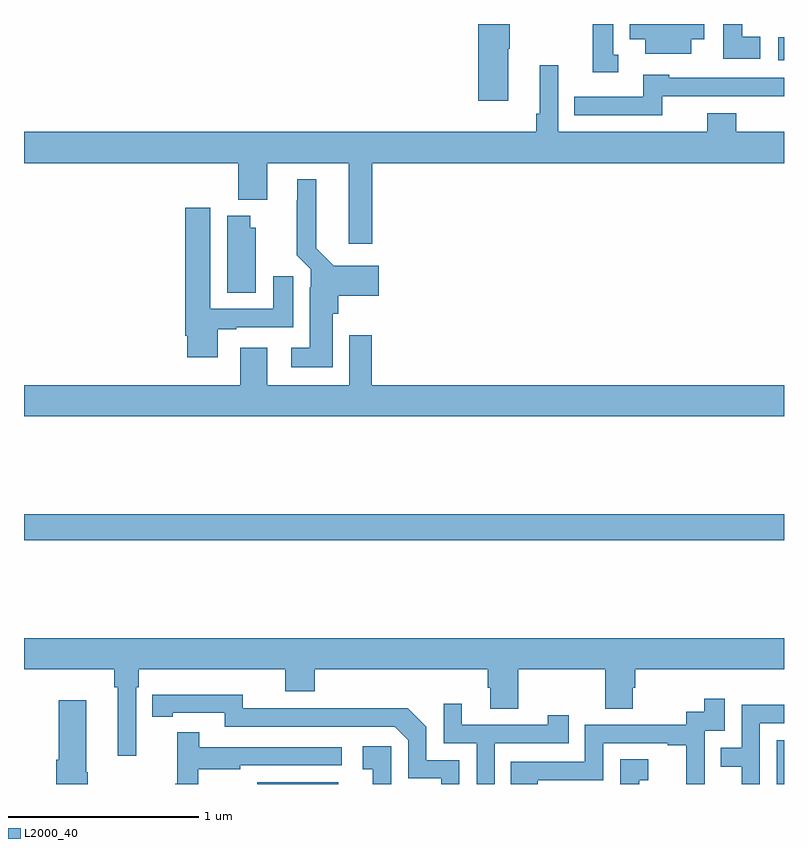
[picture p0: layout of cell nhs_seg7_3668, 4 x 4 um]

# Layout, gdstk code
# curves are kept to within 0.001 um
import gdstk
lib = gdstk.Library(unit=1e-6, precision=1e-09)
def R(c, l, rs):  # rectangles x0, y0, x1, y1
    for r in rs: c.add(gdstk.rectangle(r[:2], r[2:], *l))
def P(c, l, *ps):  # polygons
    for p in ps: c.add(gdstk.Polygon(p, *l))
L2000_40 = (2000, 40)

nhs_seg7_3668 = lib.new_cell('nhs_seg7_3668')
R(nhs_seg7_3668, L2000_40, [(346.227,1012,346.654,1012.009), (348.963,1012,349,1012.23), (345,1013.284,349,1013.42), (348.969,1015.809,349,1015.929)])
P(nhs_seg7_3668, L2000_40, [(348.511,1015.919),(348.58,1015.919),(348.58,1016),(348.187,1016),(348.187,1015.919),(348.269,1015.919),(348.269,1015.844),(348.511,1015.844)],
  [(347.548,1015.87),(347.556,1015.87),(347.556,1016),(347.39,1016),(347.39,1015.596),(347.548,1015.596)],
  [(348.874,1015.934),(348.78,1015.934),(348.78,1016),(348.681,1016),(348.681,1015.818),(348.874,1015.818)],
  [(348.127,1015.839),(348.102,1015.839),(348.102,1016),(347.994,1016),(347.994,1015.745),(348.127,1015.745)],
  [(346.832,1015.268),(349,1015.268),(349,1015.432),(348.749,1015.432),(348.749,1015.531),(348.596,1015.531),(348.596,1015.432),(347.811,1015.432),(347.811,1015.783),(347.714,1015.783),(347.714,1015.528),(347.695,1015.528),(347.695,1015.432),(345,1015.432),(345,1015.268),(346.127,1015.268),(346.127,1015.076),(346.279,1015.076),(346.279,1015.268),(346.709,1015.268),(346.709,1014.843),(346.832,1014.843)],
  [(348.36,1015.62),(348.832,1015.62),(348.832,1015.619),(349,1015.619),(349,1015.716),(348.396,1015.716),(348.396,1015.732),(348.26,1015.732),(348.26,1015.617),(347.896,1015.617),(347.896,1015.521),(348.36,1015.521)],
  [(346.624,1014.474),(346.655,1014.474),(346.655,1014.569),(346.867,1014.569),(346.867,1014.727),(346.629,1014.727),(346.537,1014.82),(346.537,1015.183),(346.439,1015.183),(346.439,1015.073),(346.435,1015.073),(346.435,1014.782),(346.509,1014.708),(346.509,1014.614),(346.505,1014.614),(346.505,1014.295),(346.407,1014.295),(346.407,1014.194),(346.624,1014.194)],
  [(346.021,1014.393),(346.117,1014.393),(346.117,1014.405),(346.417,1014.405),(346.417,1014.673),(346.313,1014.673),(346.313,1014.501),(345.979,1014.501),(345.979,1015.033),(345.848,1015.033),(345.848,1014.358),(345.86,1014.358),(345.86,1014.246),(346.021,1014.246)],
  [(346.219,1014.927),(346.192,1014.927),(346.192,1014.991),(346.07,1014.991),(346.07,1014.586),(346.219,1014.586)],
  [(349,1014.1),(346.829,1014.1),(346.829,1014.361),(346.713,1014.361),(346.713,1014.1),(346.279,1014.1),(346.279,1014.295),(346.139,1014.295),(346.139,1014.1),(345,1014.1),(345,1013.936),(349,1013.936)],
  [(345.591,1012.508),(345.605,1012.508),(345.605,1012.604),(346.376,1012.604),(346.376,1012.487),(346.529,1012.487),(346.529,1012.604),(347.441,1012.604),(347.441,1012.506),(347.453,1012.506),(347.453,1012.396),(347.601,1012.396),(347.601,1012.604),(348.058,1012.604),(348.058,1012.396),(348.205,1012.396),(348.205,1012.506),(348.218,1012.506),(348.218,1012.604),(349,1012.604),(349,1012.768),(345,1012.768),(345,1012.604),(345.475,1012.604),(345.475,1012.508),(345.494,1012.508),(345.494,1012.149),(345.591,1012.149)],
  [(347.292,1012.125),(347.118,1012.125),(347.118,1012.302),(347.02,1012.4),(346.612,1012.4),(346.612,1012.398),(346.152,1012.398),(346.152,1012.471),(345.676,1012.47),(345.676,1012.354),(345.784,1012.354),(345.784,1012.374),(346.056,1012.374),(346.056,1012.302),(346.95,1012.302),(347.022,1012.23),(347.022,1012.029),(347.195,1012.029),(347.195,1012),(347.292,1012)],
  [(347.703,1012.02),(348.048,1012.02),(348.048,1012.215),(348.389,1012.215),(348.389,1012.203),(348.485,1012.203),(348.485,1012),(348.584,1012),(348.584,1012.052),(348.582,1012.052),(348.582,1012.281),(348.687,1012.281),(348.687,1012.45),(348.579,1012.45),(348.579,1012.38),(348.486,1012.38),(348.486,1012.311),(347.952,1012.311),(347.952,1012.116),(347.563,1012.116),(347.563,1012),(347.703,1012)],
  [(345.336,1012.061),(345.328,1012.061),(345.328,1012.441),(345.182,1012.441),(345.182,1012.128),(345.17,1012.128),(345.17,1012),(345.336,1012)],
  [(347.478,1012.215),(347.867,1012.215),(347.867,1012.363),(347.756,1012.363),(347.756,1012.311),(347.305,1012.311),(347.305,1012.423),(347.208,1012.423),(347.208,1012.215),(347.382,1012.215),(347.382,1012),(347.478,1012)],
  [(348.873,1012.32),(349,1012.32),(349,1012.416),(348.777,1012.416),(348.777,1012.191),(348.667,1012.191),(348.667,1012.09),(348.777,1012.09),(348.777,1012),(348.873,1012)],
  [(345.916,1012.078),(346.139,1012.078),(346.139,1012.098),(346.672,1012.098),(346.672,1012.194),(345.923,1012.194),(345.923,1012.273),(345.806,1012.273),(345.806,1012.001),(345.795,1012.001),(345.795,1012),(345.916,1012)],
  [(346.932,1012.198),(346.782,1012.198),(346.782,1012.077),(346.835,1012.077),(346.835,1012),(346.932,1012)],
  [(348.237,1012.019),(348.286,1012.019),(348.286,1012.129),(348.138,1012.129),(348.138,1012),(348.237,1012)])

lib.write_gds('nhs_seg7_3668.gds')
